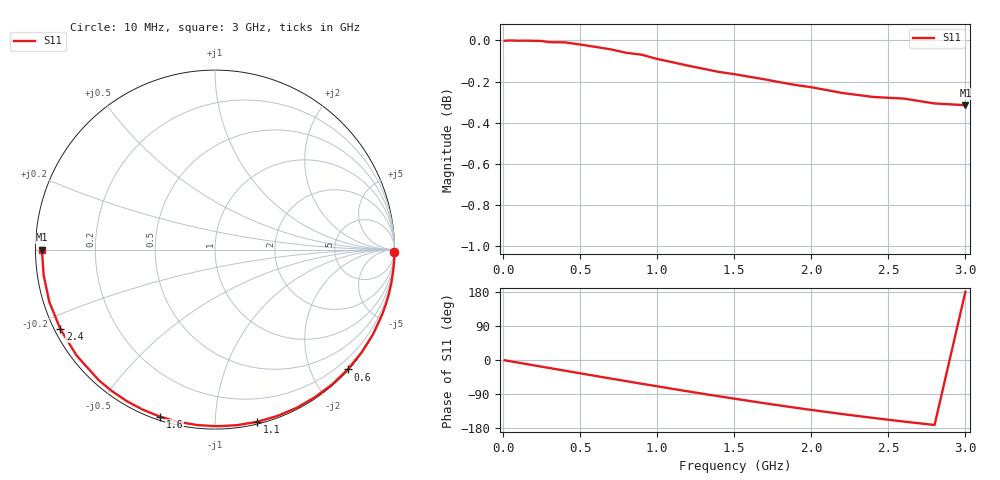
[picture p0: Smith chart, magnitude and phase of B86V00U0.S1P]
! SIEMENS Discrete & RF Semiconductors
! BBY53-03W
! Si Tuning Diode in SOD323
! VR = 6 V
! S-Parameters:  May  1997
# GHz  S  MA  R  50
!  f  S11
! GHz  MAG  ANG
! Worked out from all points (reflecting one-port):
!   30 points, 10 MHz to 3 GHz, reference 50 ohm
!   lowest |S11| = -0.3 dB at 3 GHz (marker M1), VSWR 55.21, Z = 0.906 + j3.06e-15 ohm
!   phase of S11 starts at -1 deg and turns -179 deg over the sweep
!   S11 on the Smith chart (normalised r, x): 10 MHz: open; 600 MHz: 0.01, -2.60; 1.1 GHz: 0.02, -1.28; 1.6 GHz: 0.02, -0.72; 2.4 GHz: 0.02, -0.24; 3 GHz: 0.02, +0.00
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0.01  0.9998 -0.7
0.1  0.9999 -7.0
0.15  0.9999 -10.6
0.2  0.9998 -14.1
0.25  0.9997 -17.6
0.3  0.999 -21.1
0.4  0.9989 -28.1
0.5  0.9977 -35.1
0.6  0.9964 -42.1
0.7  0.995 -49.0
0.8  0.9931 -55.9
0.9  0.992 -62.7
1  0.9897 -69.4
1.1  0.9879 -76.2
1.2  0.986 -82.8
1.3  0.9843 -89.3
1.4  0.9825 -95.7
1.5  0.9813 -102.0
1.6  0.9799 -108.2
1.7  0.9784 -114.3
1.8  0.9768 -120.3
1.9  0.9753 -126.1
2  0.9742 -131.7
2.2  0.971 -142.6
2.4  0.9689 -152.8
2.6  0.968 -162.5
2.8  0.9653 -171.5
3  0.9644 180.0
